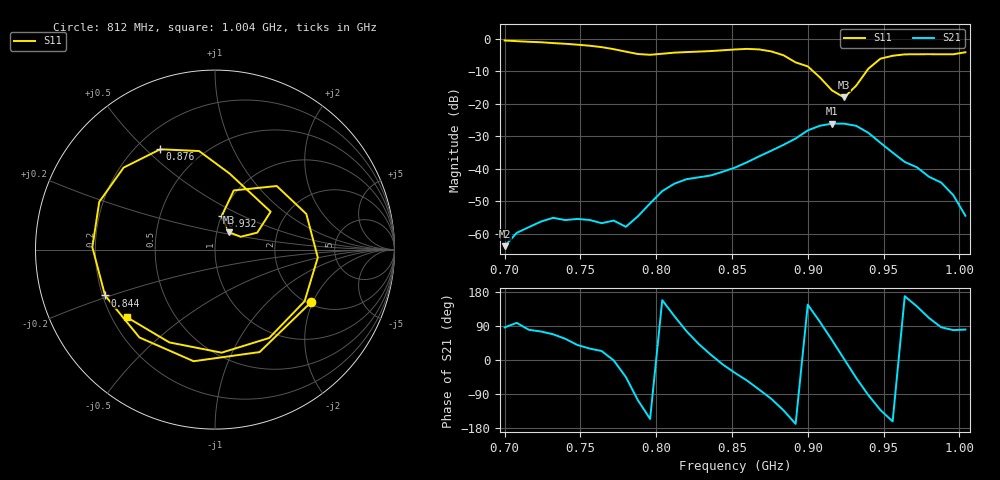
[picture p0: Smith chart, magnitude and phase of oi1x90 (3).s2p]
# Hz S RI R 50
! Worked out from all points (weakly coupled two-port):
!   39 points, 700 MHz to 1.004 GHz, reference 50 ohm
!   highest |S21| = -26.14 dB at 916 MHz (marker M1); lowest = -63.9 dB at 700 MHz (marker M2)
!   lowest |S11| = -18.1 dB at 924 MHz (marker M3), VSWR 1.28, Z = 57.3 + j11.3 ohm
!   |S11| at or under -10 dB: 903.5 MHz to 938.8 MHz (35.3 MHz wide, 3.83 % of centre)
!   S12 and S22 are empty: the file has one direction only
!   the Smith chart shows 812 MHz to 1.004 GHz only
!   S11 on the Smith chart (normalised r, x): 812 MHz: 2.08, -1.94; 844 MHz: 0.21, -0.19; 876 MHz: 0.29, +0.55; 932 MHz: 1.00, +0.39; 1.004 GHz: 0.26, -0.32
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7e8  0.7584 0.5558  4.39e-05 0.000637  0 0  0 0
7.24e8  0.8469 -0.2469  0.000391 0.00148  0 0  0 0
7.4e8  0.4582 -0.6988  0.0009 0.00134  0 0  0 0
7.56e8  -0.1895 -0.7568  0.0014 0.000816  0 0  0 0
7.72e8  -0.6629 -0.1935  0.00158 -3.24e-05  0 0  0 0
7.8e8  -0.5897 0.2286  0.000898 -0.000896  0 0  0 0
7.88e8  -0.2361 0.5309  -0.000528 -0.00177  0 0  0 0
7.96e8  0.2496 0.5077  -0.00265 -0.00121  0 0  0 0
8.04e8  0.5662 0.156  -0.00417 0.0017  0 0  0 0
8.12e8  0.5355 -0.2927  -0.00254 0.00527  0 0  0 0
8.28e8  -0.1192 -0.6219  0.0054 0.00496  0 0  0 0
8.44e8  -0.6125 -0.2556  0.00876 -0.00186  0 0  0 0
8.52e8  -0.6834 0.0135  0.00859 -0.00581  0 0  0 0
8.76e8  -0.3051 0.559  -0.00412 -0.0184  0 0  0 0
9e8  0.3101 0.2111  -0.0321 0.0216  0 0  0 0
9.08e8  0.2356 0.0947  -0.0085 0.0449  0 0  0 0
9.16e8  0.1432 0.0714  0.03 0.0391  0 0  0 0
9.24e8  0.0781 0.0969  0.0492 0.00211  0 0  0 0
9.32e8  0.037 0.1864  0.0307 -0.0336  0 0  0 0
9.56e8  0.5088 0.1987  -0.0168 -0.00545  0 0  0 0
9.8e8  0.3021 -0.4923  -0.00267 0.00698  0 0  0 0
1.004e9  -0.4908 -0.377  0.000315 0.00185  0 0  0 0
